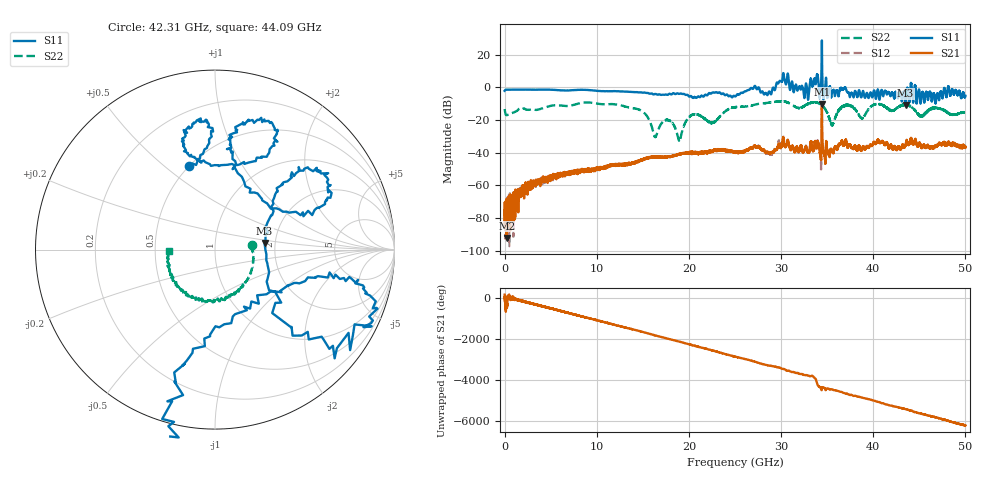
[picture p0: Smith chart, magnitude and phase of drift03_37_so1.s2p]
!Created with skrf (http://scikit-rf.org).
# Hz S RI R 50.0
!freq ReS11 ImS11 ReS21 ImS21 ReS12 ImS12 ReS22 ImS22
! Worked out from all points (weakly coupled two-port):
!   10000 points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, 5.3 MHz to 50 GHz, reference 50 ohm
!   highest |S21| = -10.37 dB at 34.43 GHz (marker M1); lowest = -92.3 dB at 255.3 MHz (marker M2)
!   lowest |S11| = -11.1 dB at 43.52 GHz (marker M3), VSWR 1.77, Z = 87.8 + j6.99 ohm
!   |S11| at or under -10 dB: 43.48981 GHz to 43.54234 GHz (52.54 MHz wide, 0.121 % of centre)
!   |S22| runs from -32.8 to -8.4 dB; largest |S21 - S12| = 0.099
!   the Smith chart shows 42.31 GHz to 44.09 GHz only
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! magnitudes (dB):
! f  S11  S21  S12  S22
! 5.3 MHz  -2.1  -75.6  -82.0  -13.3
! 255.3 MHz  -1.4  -92.3  -84.0  -17.0
! 2.73 GHz  -1.4  -59.6  -60.8  -13.7
! 8.34 GHz  -1.5  -50.9  -50.9  -9.5
! 14.55 GHz  -3.1  -45.1  -45.3  -13.5
! 16.67 GHz  -4.4  -42.7  -42.7  -26.2
! 17.8 GHz  -4.2  -42.6  -42.6  -20.0
! 18.98 GHz  -3.9  -41.0  -41.2  -32.8
! 20.28 GHz  -5.5  -39.7  -40.2  -17.1
! 22.58 GHz  -3.1  -39.2  -39.3  -21.7
! 25.01 GHz  -5.5  -39.4  -40.0  -12.1
! 28.72 GHz  -2.5  -40.5  -40.2  -9.4
! 30.14 GHz  4.4  -34.2  -34.1  -8.5
! 32.74 GHz  2.0  -37.0  -36.4  -10.7
! 33.34 GHz  2.6  -34.6  -35.1  -9.4
! 34.43 GHz  28.8  -10.4  -12.7  -10.9
! 35.54 GHz  -3.1  -38.9  -39.1  -23.5
! 37.02 GHz  -0.6  -32.4  -32.4  -11.0
! 38.77 GHz  -5.2  -38.2  -38.1  -19.0
! 41.67 GHz  -3.0  -36.7  -36.7  -13.4
! 43.52 GHz  -11.1  -35.5  -35.2  -10.9
! 50 GHz  -5.2  -36.5  -36.3  -15.4
